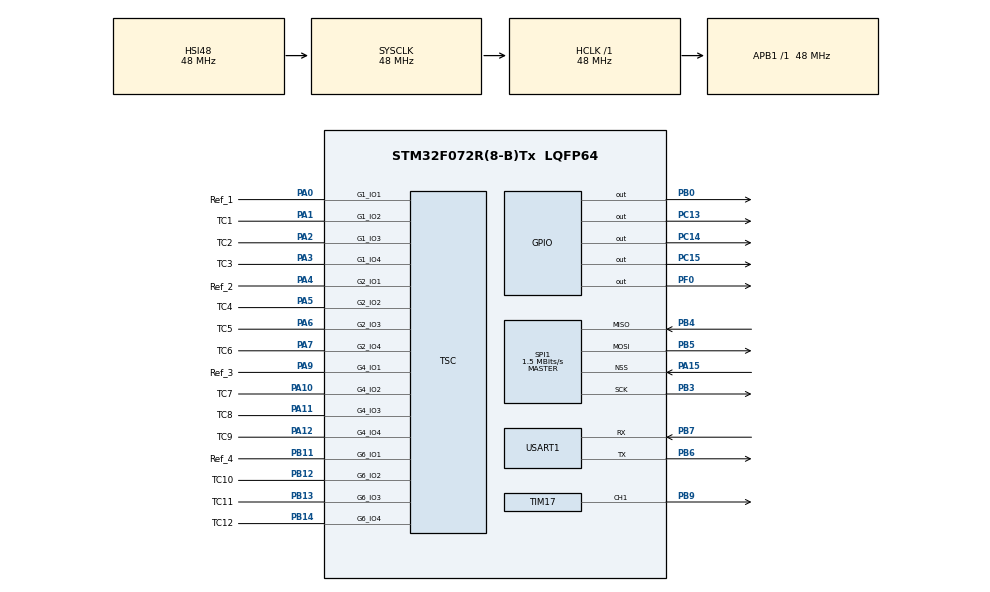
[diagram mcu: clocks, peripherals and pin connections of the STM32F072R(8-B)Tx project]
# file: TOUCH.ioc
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Mcu.Family=STM32F0
Mcu.Name=STM32F072R(8-B)Tx
Mcu.Package=LQFP64
NVIC.TIM6_DAC_IRQn=true\:0\:0\:false\:false\:true\:true
PA0.GPIO_Label=Ref_1
PA0.GPIO_ModeDefaultOD=GPIO_MODE_AF_OD
PA0.GPIO_Speed=GPIO_SPEED_FREQ_LOW
PA0.Mode=G1_IO1-Sampling
PA0.Signal=TSC_G1_IO1
PA1.GPIO_Label=TC1
PA1.GPIO_ModeDefaultPP=GPIO_MODE_AF_PP
PA1.GPIO_PuPd=GPIO_NOPULL
PA1.GPIO_Speed=GPIO_SPEED_FREQ_LOW
PA1.Mode=G1_IO2-Channel
PA1.Signal=TSC_G1_IO2
PA10.GPIO_Label=TC7
PA10.GPIO_ModeDefaultPP=GPIO_MODE_AF_PP
PA10.GPIO_PuPd=GPIO_NOPULL
PA10.GPIO_Speed=GPIO_SPEED_FREQ_LOW
PA10.Mode=G4_IO2-Channel
PA10.Signal=TSC_G4_IO2
PA11.GPIO_Label=TC8
PA11.GPIO_ModeDefaultPP=GPIO_MODE_AF_PP
PA11.GPIO_PuPd=GPIO_NOPULL
PA11.GPIO_Speed=GPIO_SPEED_FREQ_LOW
PA11.Mode=G4_IO3-Channel
PA11.Signal=TSC_G4_IO3
PA12.GPIO_Label=TC9
PA12.GPIO_ModeDefaultPP=GPIO_MODE_AF_PP
PA12.GPIO_PuPd=GPIO_NOPULL
PA12.GPIO_Speed=GPIO_SPEED_FREQ_LOW
PA12.Mode=G4_IO4-Channel
PA12.Signal=TSC_G4_IO4
PA13.Mode=Serial_Wire
PA13.Signal=SYS_SWDIO
PA14.Mode=Serial_Wire
PA14.Signal=SYS_SWCLK
PA15.GPIO_Mode=GPIO_MODE_AF_PP
PA15.GPIO_PuPd=GPIO_NOPULL
PA15.GPIO_Speed=GPIO_SPEED_FREQ_LOW
PA15.Mode=NSS_Signal_Hard_Input
PA15.Signal=SPI1_NSS
PA2.GPIO_Label=TC2
PA2.GPIO_ModeDefaultPP=GPIO_MODE_AF_PP
PA2.GPIO_PuPd=GPIO_NOPULL
PA2.GPIO_Speed=GPIO_SPEED_FREQ_LOW
PA2.Mode=G1_IO3-Channel
PA2.Signal=TSC_G1_IO3
PA3.GPIO_Label=TC3
PA3.GPIO_ModeDefaultPP=GPIO_MODE_AF_PP
PA3.GPIO_PuPd=GPIO_NOPULL
PA3.GPIO_Speed=GPIO_SPEED_FREQ_LOW
PA3.Mode=G1_IO4-Channel
PA3.Signal=TSC_G1_IO4
PA4.GPIO_Label=Ref_2
PA4.GPIO_ModeDefaultOD=GPIO_MODE_AF_OD
PA4.GPIO_Speed=GPIO_SPEED_FREQ_LOW
PA4.Mode=G2_IO1-Sampling
PA4.Signal=TSC_G2_IO1
PA5.GPIO_Label=TC4
PA5.GPIO_ModeDefaultPP=GPIO_MODE_AF_PP
PA5.GPIO_PuPd=GPIO_NOPULL
PA5.GPIO_Speed=GPIO_SPEED_FREQ_LOW
PA5.Mode=G2_IO2-Channel
PA5.Signal=TSC_G2_IO2
PA6.GPIO_Label=TC5
PA6.GPIO_ModeDefaultPP=GPIO_MODE_AF_PP
PA6.GPIO_PuPd=GPIO_NOPULL
PA6.GPIO_Speed=GPIO_SPEED_FREQ_LOW
PA6.Mode=G2_IO3-Channel
PA6.Signal=TSC_G2_IO3
PA7.GPIO_Label=TC6
PA7.GPIO_ModeDefaultPP=GPIO_MODE_AF_PP
PA7.GPIO_PuPd=GPIO_NOPULL
PA7.GPIO_Speed=GPIO_SPEED_FREQ_LOW
PA7.Mode=G2_IO4-Channel
PA7.Signal=TSC_G2_IO4
PA9.GPIO_Label=Ref_3
PA9.GPIO_ModeDefaultOD=GPIO_MODE_AF_OD
PA9.GPIO_Speed=GPIO_SPEED_FREQ_LOW
PA9.Mode=G4_IO1-Sampling
PA9.Signal=TSC_G4_IO1
PB0.Signal=GPIO_Output
PB11.GPIO_Label=Ref_4
PB11.GPIO_ModeDefaultOD=GPIO_MODE_AF_OD
PB11.GPIO_Speed=GPIO_SPEED_FREQ_LOW
PB11.Mode=G6_IO1-Sampling
PB11.Signal=TSC_G6_IO1
PB12.GPIO_Label=TC10
PB12.GPIO_ModeDefaultPP=GPIO_MODE_AF_PP
PB12.GPIO_PuPd=GPIO_NOPULL
PB12.GPIO_Speed=GPIO_SPEED_FREQ_LOW
PB12.Mode=G6_IO2-Channel
PB12.Signal=TSC_G6_IO2
PB13.GPIO_Label=TC11
PB13.GPIO_ModeDefaultPP=GPIO_MODE_AF_PP
PB13.GPIO_PuPd=GPIO_NOPULL
PB13.GPIO_Speed=GPIO_SPEED_FREQ_LOW
PB13.Mode=G6_IO3-Channel
PB13.Signal=TSC_G6_IO3
PB14.GPIO_Label=TC12
PB14.GPIO_ModeDefaultPP=GPIO_MODE_AF_PP
PB14.GPIO_PuPd=GPIO_NOPULL
PB14.GPIO_Speed=GPIO_SPEED_FREQ_LOW
PB14.Mode=G6_IO4-Channel
PB14.Signal=TSC_G6_IO4
PB3.GPIO_Mode=GPIO_MODE_AF_PP
PB3.GPIO_PuPd=GPIO_NOPULL
PB3.GPIO_Speed=GPIO_SPEED_FREQ_LOW
PB3.Mode=Full_Duplex_Master
PB3.Signal=SPI1_SCK
PB4.GPIO_Mode=GPIO_MODE_AF_PP
PB4.GPIO_PuPd=GPIO_NOPULL
PB4.GPIO_Speed=GPIO_SPEED_FREQ_LOW
PB4.Mode=Full_Duplex_Master
PB4.Signal=SPI1_MISO
PB5.Mode=Full_Duplex_Master
PB5.Signal=SPI1_MOSI
PB6.Mode=Asynchronous
PB6.Signal=USART1_TX
PB7.Mode=Asynchronous
PB7.Signal=USART1_RX
PB9.Signal=S_TIM17_CH1
PC13.Signal=GPIO_Output
PC14-OSC32_IN.Signal=GPIO_Output
PC15-OSC32_OUT.Signal=GPIO_Output
PF0-OSC_IN.Signal=GPIO_Output
ProjectManager.HeapSize=0x200
ProjectManager.StackSize=0x400
ProjectManager.TargetToolchain=EWARM
RCC.AHBFreq_Value=48000000
RCC.APB1Freq_Value=48000000
RCC.APB1TimFreq_Value=48000000
RCC.HCLKFreq_Value=48000000
RCC.SYSCLKFreq_VALUE=48000000
RCC.SYSCLKSource=RCC_SYSCLKSOURCE_HSI48
SH.S_TIM17_CH1.0=TIM17_CH1,PWM Generation1 CH1
SPI1.BaudRatePrescaler=SPI_BAUDRATEPRESCALER_32
SPI1.CLKPolarity=SPI_POLARITY_HIGH
SPI1.CalculateBaudRate=1.5 MBits/s
SPI1.DataSize=SPI_DATASIZE_8BIT
SPI1.Direction=SPI_DIRECTION_2LINES
SPI1.Mode=SPI_MODE_MASTER
SPI1.VirtualNSS=VM_NSSHARD
SPI1.VirtualType=VM_MASTER
TIM17.Channel=TIM_CHANNEL_1
TIM6.Period=1000
TIM6.Prescaler=48
TSC.MaxCountValue=TSC_MCV_8191
USART1.VirtualMode-Asynchronous=VM_ASYNC
VP_TIM17_VS_ClockSourceINT.Mode=Enable_Timer
VP_TIM6_VS_ClockSourceINT.Mode=Enable_Timer
board=TOUCH

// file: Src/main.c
/**
  ******************************************************************************
  * File Name          : main.c
  * Description        : Main program body
  ******************************************************************************
  ** This notice applies to any and all portions of this file
  * that are not between comment pairs USER CODE BEGIN and
  * USER CODE END. Other portions of this file, whether
  * inserted by the user or by software development tools
  * are owned by their respective copyright owners.
  *
  * COPYRIGHT(c) 2017 STMicroelectronics
  *
  * Redistribution and use in source and binary forms, with or without modification,
  * are permitted provided that the following conditions are met:
  *   1. Redistributions of source code must retain the above copyright notice,
  *      this list of conditions and the following disclaimer.
  *   2. Redistributions in binary form must reproduce the above copyright notice,
  *      this list of conditions and the following disclaimer in the documentation
  *      and/or other materials provided with the distribution.
  *   3. Neither the name of STMicroelectronics nor the names of its contributors
  *      may be used to endorse or promote products derived from this software
  *      without specific prior written permission.
  *
  * THIS SOFTWARE IS PROVIDED BY THE COPYRIGHT HOLDERS AND CONTRIBUTORS "AS IS"
  * AND ANY EXPRESS OR IMPLIED WARRANTIES, INCLUDING, BUT NOT LIMITED TO, THE
  * IMPLIED WARRANTIES OF MERCHANTABILITY AND FITNESS FOR A PARTICULAR PURPOSE ARE
  * DISCLAIMED. IN NO EVENT SHALL THE COPYRIGHT HOLDER OR CONTRIBUTORS BE LIABLE
  * FOR ANY DIRECT, INDIRECT, INCIDENTAL, SPECIAL, EXEMPLARY, OR CONSEQUENTIAL
  * DAMAGES (INCLUDING, BUT NOT LIMITED TO, PROCUREMENT OF SUBSTITUTE GOODS OR
  * SERVICES; LOSS OF USE, DATA, OR PROFITS; OR BUSINESS INTERRUPTION) HOWEVER
  * CAUSED AND ON ANY THEORY OF LIABILITY, WHETHER IN CONTRACT, STRICT LIABILITY,
  * OR TORT (INCLUDING NEGLIGENCE OR OTHERWISE) ARISING IN ANY WAY OUT OF THE USE
  * OF THIS SOFTWARE, EVEN IF ADVISED OF THE POSSIBILITY OF SUCH DAMAGE.
  *
  ******************************************************************************
  */

#include "main.h"
#include "stm32f0xx_hal.h"
#include "spi.h"
#include "tim.h"
#include "tsc.h"
#include "usart.h"
#include "gpio.h"

/* USER CODE BEGIN Includes */
#include "tsl_user.h"
/* USER CODE END Includes */

/* USER CODE BEGIN PV */
/* Private variables ---------------------------------------------------------*/
#define USE_USART 1
/* USER CODE END PV */

void SystemClock_Config(void);

/* USER CODE BEGIN PFP */
/* Private function prototypes -----------------------------------------------*/

/* USER CODE END PFP */

/* USER CODE BEGIN 0 */

#define NUMERO_TECLAS           12
#define LIMITE_TECLAS_SIMULTANEAS 3

#define TC1              0x00
#define TC2              0x01
#define TC3              0x02
#define TC4              0x03
#define TC5              0x04
#define TC6              0x05
#define TC7              0x06
#define TC8              0x07
#define TC9              0x08
#define TC10             0x09
#define TC11             0x0A
#define TC12             0x0B

#define TAMANHO_ENVIO           0x01
#define TIMEOUT_ENVIO           30

#define TECLA1              0x0F//0b00001111//0x01
#define TECLA2              0x07//0b00000111//0x02
#define TECLA3              0x03//0b00000011//0x03
#define TECLA4              0x0E//0b00001110//0x04
#define TECLA5              0x06//0b00000110//0x05
#define TECLA6              0x02//0b00000010//0x06
#define TECLA7              0x0D//0b00001101//0x07
#define TECLA8              0x05//0b00000101//0x08
#define TECLA9              0x01//0b00000001//0x09
#define TECLA0              0x04//0b00000100//0x00
#define TECLA_CANCELA       0x0C//0b00001100//0x0B
#define TECLA_OK            0x00//0b00000000//0x0C

char WaterProof_Process(void);//tsl_user_status_t tsl_status);
char Process_Sensors(void);//tsl_user_status_t status);

TSC_IOConfigTypeDef tsc_config;
uint32_t Tecla[NUMERO_TECLAS];
uint32_t ReferenciaTecla[NUMERO_TECLAS] = {0,0,0,0,0,0,0,0,0,0,0,0};
uint8_t StatusTecla[NUMERO_TECLAS] = {0};
uint8_t Recebe_Tecla[NUMERO_TECLAS] = {0};
uint8_t Envia_Tecla_NaoPress = 0xFF;
uint8_t Envia_Tecla[NUMERO_TECLAS] = {
                     TECLA_CANCELA,
                     TECLA7,
                     TECLA2,
                     TECLA5,
                     TECLA8,
                     TECLA0,
                     TECLA3,
                     TECLA6,
                     TECLA9,
                     TECLA_OK,
                     TECLA4,
                     TECLA1
                     };
/* USER CODE END 0 */

int main(void)
{

  /* USER CODE BEGIN 1 */
  tsl_user_status_t tsl_status;
  /* USER CODE END 1 */

  /* MCU Configuration----------------------------------------------------------*/

  /* Reset of all peripherals, Initializes the Flash interface and the Systick. */
  HAL_Init();

  /* Configure the system clock */
  SystemClock_Config();

  /* Initialize all configured peripherals */
  MX_GPIO_Init();
  MX_SPI1_Init();
  MX_TIM6_Init();
  MX_TIM17_Init();
  MX_TSC_Init();
  MX_USART1_UART_Init();

  /* USER CODE BEGIN 2 */
  //HAL_GPIO_WritePin(GPIOB,GPIO_PIN_0,GPIO_PIN_RESET);
  HAL_Delay(200);
  tsl_user_Init();
  /* USER CODE END 2 */

  /* Infinite loop */
  while (1)
  {

  /* USER CODE BEGIN 3 */
    tsl_status = tsl_user_Exec();
    if(tsl_status != TSL_USER_STATUS_BUSY)
    {
      if(WaterProof_Process())
      {
        Process_Sensors();
      }
      else
      {
        tsl_user_Init(); //força recalibração
        HAL_Delay(100);
      }
    }
  }
  /* USER CODE END 3 */

}

/** System Clock Configuration
*/
void SystemClock_Config(void)
{

  RCC_OscInitTypeDef RCC_OscInitStruct;
  RCC_ClkInitTypeDef RCC_ClkInitStruct;
  RCC_PeriphCLKInitTypeDef PeriphClkInit;

    /**Initializes the CPU, AHB and APB busses clocks
    */
  RCC_OscInitStruct.OscillatorType = RCC_OSCILLATORTYPE_HSI48;
  RCC_OscInitStruct.HSI48State = RCC_HSI48_ON;
  RCC_OscInitStruct.PLL.PLLState = RCC_PLL_NONE;
  if (HAL_RCC_OscConfig(&RCC_OscInitStruct) != HAL_OK)
  {
    _Error_Handler(__FILE__, __LINE__);
  }

    /**Initializes the CPU, AHB and APB busses clocks
    */
  RCC_ClkInitStruct.ClockType = RCC_CLOCKTYPE_HCLK|RCC_CLOCKTYPE_SYSCLK
                              |RCC_CLOCKTYPE_PCLK1;
  RCC_ClkInitStruct.SYSCLKSource = RCC_SYSCLKSOURCE_HSI48;
  RCC_ClkInitStruct.AHBCLKDivider = RCC_SYSCLK_DIV1;
  RCC_ClkInitStruct.APB1CLKDivider = RCC_HCLK_DIV1;

  if (HAL_RCC_ClockConfig(&RCC_ClkInitStruct, FLASH_LATENCY_1) != HAL_OK)
  {
    _Error_Handler(__FILE__, __LINE__);
  }

  PeriphClkInit.PeriphClockSelection = RCC_PERIPHCLK_USART1;
  PeriphClkInit.Usart1ClockSelection = RCC_USART1CLKSOURCE_PCLK1;
  if (HAL_RCCEx_PeriphCLKConfig(&PeriphClkInit) != HAL_OK)
  {
    _Error_Handler(__FILE__, __LINE__);
  }

    /**Configure the Systick interrupt time
    */
  HAL_SYSTICK_Config(HAL_RCC_GetHCLKFreq()/1000);

    /**Configure the Systick
    */
  HAL_SYSTICK_CLKSourceConfig(SYSTICK_CLKSOURCE_HCLK);

  /* SysTick_IRQn interrupt configuration */
  HAL_NVIC_SetPriority(SysTick_IRQn, 0, 0);
}

/* USER CODE BEGIN 4 */

/**
  * @brief  Display sensors information on SPI
  * @param  status TSL user status
  * @retval None
  */
char Process_Sensors(void)// tsl_user_status_t status)
{
  char i;
  char j = 0;
  for(i = 0; i < NUMERO_TECLAS; i++)
  {
    if (MyTKeys[i].p_Data->StateId == TSL_STATEID_DETECT)
    {
#ifdef USE_SPI
      HAL_SPI_TransmitReceive(&hspi1,&Envia_Tecla[i],&Recebe_Tecla[i],TAMANHO_ENVIO,TIMEOUT_ENVIO);
#endif
#ifdef USE_USART
      HAL_UART_Transmit(&huart1,&Envia_Tecla[i],TAMANHO_ENVIO,TIMEOUT_ENVIO);
#endif
#ifdef USE_INT_HOST
      HAL_GPIO_WritePin(GPIOB,GPIO_PIN_0,GPIO_PIN_SET);
      HAL_Delay(50);
      HAL_GPIO_WritePin(GPIOB,GPIO_PIN_0,GPIO_PIN_RESET);
#endif
      j |= (i+1);
      //return 1 ;
    }
    if (MyTKeys[i].p_Data->StateId == TSL_STATEID_TOUCH)
    {
      j |= (i+1);
    }
  }
  if(j){
    if(j & 0x08){
      HAL_GPIO_WritePin(GPIOC,GPIO_PIN_13,GPIO_PIN_SET);
    }
    if(j & 0x04){
      HAL_GPIO_WritePin(GPIOC,GPIO_PIN_14,GPIO_PIN_SET);
    }
    if(j & 0x02){
      HAL_GPIO_WritePin(GPIOC,GPIO_PIN_15,GPIO_PIN_SET);
    }
    if(j & 0x01){
      HAL_GPIO_WritePin(GPIOF,GPIO_PIN_0,GPIO_PIN_SET);
    }
#ifdef USE_USART
      Envia_Tecla[0] = j;
      HAL_UART_Transmit(&huart1,&Envia_Tecla[0],TAMANHO_ENVIO,TIMEOUT_ENVIO);
#endif
    return 1;
  } else{
    HAL_GPIO_WritePin(GPIOC,GPIO_PIN_13|GPIO_PIN_14|GPIO_PIN_15,GPIO_PIN_RESET);
    HAL_GPIO_WritePin(GPIOF,GPIO_PIN_0,GPIO_PIN_RESET);
  }

#ifdef USE_SPI
  HAL_SPI_TransmitReceive(&hspi1,&Envia_Tecla_NaoPress,&Recebe_Tecla[i],TAMANHO_ENVIO,TIMEOUT_ENVIO);
#endif

#ifdef USE_USART
  HAL_UART_Transmit(&huart1,&Envia_Tecla_NaoPress,TAMANHO_ENVIO,TIMEOUT_ENVIO);
#endif
  return 0;
}

char WaterProof_Process(void)//tsl_user_status_t tsl_status)
{
  char i,j;
  j = 0;//contador de quantas teclas foram pressionadas simultaneamente
  for(i = 0; i < NUMERO_TECLAS; i++)
  {
    if (MyTKeys[i].p_Data->StateId == TSL_STATEID_TOUCH)
    {
      j++;
    }
  }
  if(j >= LIMITE_TECLAS_SIMULTANEAS)
  {
    return 0;
  }
    return 1;
}
/* USER CODE END 4 */

void _Error_Handler(char * file, int line)
{
  while(1)
  {
  }
}

/************************ (C) COPYRIGHT STMicroelectronics *****END OF FILE****/
